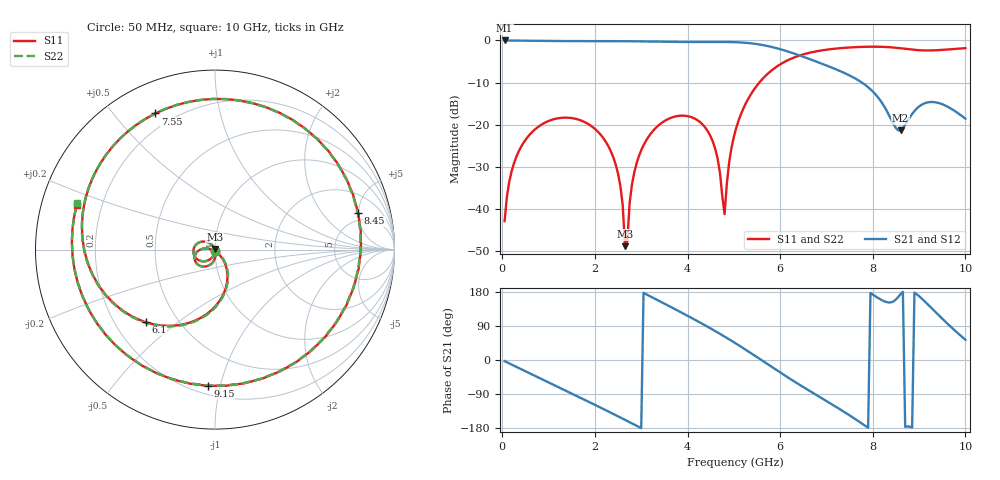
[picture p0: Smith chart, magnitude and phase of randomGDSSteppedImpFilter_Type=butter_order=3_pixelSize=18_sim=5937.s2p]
! freq	dB(S11)	phase(S11)	dB(S12)	phase(S12)
!  dB(S21)	phase(S21)	dB(S22)	phase(S22)
!S-par simulation data
#  GHz  S  DB  R 50
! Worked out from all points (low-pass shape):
!   200 points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, 50 MHz to 10 GHz, reference 50 ohm
!   highest |S21| = -0.01 dB at 50 MHz (marker M1); lowest = -21.3 dB at 8.6 GHz (marker M2)
!   |S21| within 3 dB of the highest: start of sweep to 6.273 GHz
!   lowest |S11| = -48.8 dB at 2.65 GHz (marker M3), VSWR 1.01, Z = 49.8 + j0.309 ohm
!   |S11| at or under -10 dB: start of sweep to 5.549 GHz
!   |S22| runs from -48.9 to -1.5 dB; largest |S21 - S12| = 0
!   S11 on the Smith chart (normalised r, x): 50 MHz: 1.00, -0.01; 6.1 GHz: 0.33, -0.39; 7.55 GHz: 0.13, +0.65; 8.45 GHz: 3.90, +4.94; 9.15 GHz: 0.25, -0.92; 10 GHz: 0.11, +0.15
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0.05  -42.85 -90.5  -0.01 -3.0  -0.01 -3.0  -42.85 -90.6
0.2  -31.08 -101.5  -0.02 -12.0  -0.02 -12.0  -31.08 -101.5
0.55  -22.86 -123.0  -0.07 -32.6  -0.07 -32.6  -22.86 -123.1
1.75  -19.21 166.1  -0.17 -103.3  -0.17 -103.3  -19.21 165.7
2.4  -27.80 127.5  -0.17 -142.5  -0.17 -142.5  -27.81 126.1
2.55  -34.51 119.3  -0.18 -151.8  -0.18 -151.8  -34.52 116.1
2.65  -48.77 121.7  -0.19 -157.9  -0.19 -157.9  -48.87 101.9
2.9  -29.14 -84.9  -0.21 -173.5  -0.21 -173.5  -29.13 -83.1
3.4  -19.90 -115.3  -0.30 155.1  -0.30 155.1  -19.90 -114.7
4.4  -20.91 -177.1  -0.37 90.1  -0.37 90.1  -20.92 -177.5
4.65  -28.05 172.3  -0.36 72.7  -0.36 72.7  -28.11 170.4
4.8  -41.19 -100.5  -0.36 61.9  -0.36 61.9  -42.97 -95.7
5.05  -20.80 -53.7  -0.43 43.1  -0.43 43.1  -20.81 -52.0
6.1  -5.05 -133.6  -2.40 -40.8  -2.40 -40.8  -5.05 -132.9
6.7  -2.76 -179.6  -4.68 -86.3  -4.68 -86.3  -2.76 -179.0
7.55  -1.64 113.6  -8.60 -150.1  -8.60 -150.1  -1.64 114.2
8.35  -1.60 28.1  -17.70 151.7  -17.70 151.7  -1.62 28.0
8.45  -1.69 14.3  -19.88 154.7  -19.88 154.7  -1.71 14.2
8.6  -1.86 -7.5  -21.33 173.8  -21.33 173.8  -1.88 -8.0
9.15  -2.38 -93.0  -14.79 151.5  -14.79 151.5  -2.40 -94.3
9.55  -2.21 -148.5  -15.36 103.1  -15.36 103.1  -2.21 -149.7
10  -1.84 162.3  -18.55 53.5  -18.55 53.5  -1.83 161.4
